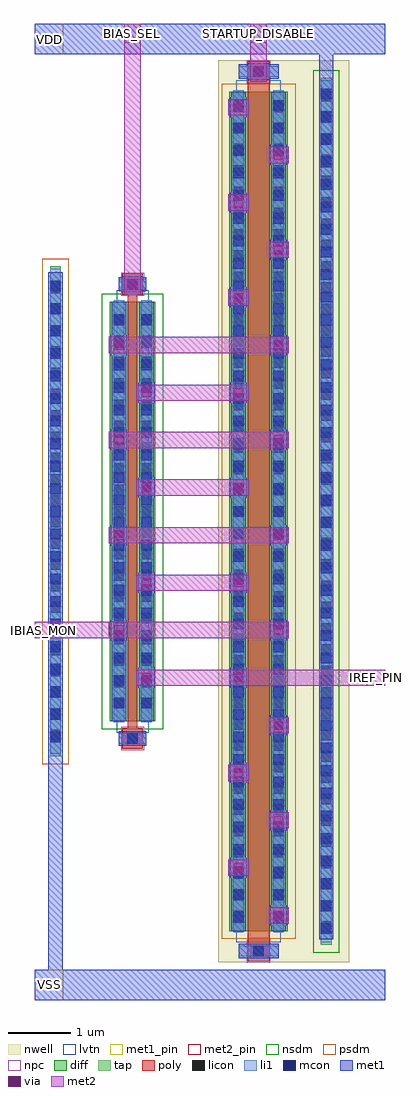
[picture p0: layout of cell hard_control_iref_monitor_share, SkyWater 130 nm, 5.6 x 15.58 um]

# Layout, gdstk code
import gdstk
lib = gdstk.Library(unit=1e-6, precision=1e-09)
def R(c, l, rs):  # rectangles x0, y0, x1, y1
    for r in rs: c.add(gdstk.rectangle(r[:2], r[2:], *l))
def A(c, l, x, y, w, h, nx, ny, dx, dy):  # array of equal rectangles
    R(c, l, [(x+i*dx, y+j*dy, x+i*dx+w, y+j*dy+h) for i in range(nx) for j in range(ny)])
nwell = (64, 20)
diff = (65, 20)
tap = (65, 44)
poly = (66, 20)
licon = (66, 44)
li1 = (67, 20)
mcon = (67, 44)
met1_pin = (68, 16)
met1 = (68, 20)
via = (68, 44)
met2_pin = (69, 16)
met2 = (69, 20)
nsdm = (93, 44)
psdm = (94, 20)
npc = (95, 20)
lvtn = (125, 44)

sky130_fd_pr__pfet_01v8_ = lib.new_cell('sky130_fd_pr__pfet_01v8_lvt_KHQS3C')
R(sky130_fd_pr__pfet_01v8_, nwell, [(-0.645,-7.2,0.645,7.2)])
R(sky130_fd_pr__pfet_01v8_, diff, [(-0.465,-6.7,0.465,6.7)])
R(sky130_fd_pr__pfet_01v8_, poly, [(-0.175,-7.185,0.175,7.185)])
A(sky130_fd_pr__pfet_01v8_, licon, -0.405, -6.545, 0.17, 0.17, 1, 39, 0, 0.34)
A(sky130_fd_pr__pfet_01v8_, licon, 0.235, -6.545, 0.17, 0.17, 1, 39, 0, 0.34)
R(sky130_fd_pr__pfet_01v8_, licon, [(-0.085,-7.105,0.085,-6.935), (-0.085,6.935,0.085,7.105)])
R(sky130_fd_pr__pfet_01v8_, li1, [(-0.32,-7.105,0.32,-6.935), (-0.405,-6.72,-0.235,6.72), (0.235,-6.72,0.405,6.72), (-0.32,6.935,0.32,7.105)])
A(sky130_fd_pr__pfet_01v8_, mcon, -0.405, -6.565, 0.17, 0.17, 1, 37, 0, 0.36)
A(sky130_fd_pr__pfet_01v8_, mcon, 0.235, -6.565, 0.17, 0.17, 1, 37, 0, 0.36)
R(sky130_fd_pr__pfet_01v8_, mcon, [(-0.085,-7.105,0.085,-6.935), (-0.085,6.935,0.085,7.105)])
R(sky130_fd_pr__pfet_01v8_, met1, [(-0.155,-7.135,0.155,-7.105), (-0.32,-7.105,0.32,-6.935), (-0.155,-6.935,0.155,-6.905), (-0.435,-6.7,-0.205,6.7), (0.205,-6.7,0.435,6.7), (-0.155,6.905,0.155,6.935), (-0.32,6.935,0.32,7.105), (-0.155,7.105,0.155,7.135)])
R(sky130_fd_pr__pfet_01v8_, psdm, [(-0.59,-6.825,0.59,6.825)])
R(sky130_fd_pr__pfet_01v8_, npc, [(-0.185,-7.205,0.185,-6.835), (-0.185,6.835,0.185,7.205)])
R(sky130_fd_pr__pfet_01v8_, lvtn, [(-0.355,-6.88,0.355,6.88)])
sky130_fd_pr__pfet_01v8_.add(gdstk.Label('D', (-0.32,0), layer=67, texttype=5))
sky130_fd_pr__pfet_01v8_.add(gdstk.Label('S', (0.32,0), layer=67, texttype=5))
sky130_fd_pr__pfet_01v8_.add(gdstk.Label('G', (0,7.02), layer=67, texttype=5))

sky130_fd_pr__nfet_01v8_ = lib.new_cell('sky130_fd_pr__nfet_01v8_lvt_2VQ9WK')
R(sky130_fd_pr__nfet_01v8_, diff, [(-0.365,-3.35,0.365,3.35)])
R(sky130_fd_pr__nfet_01v8_, poly, [(-0.165,-3.79,0.165,-3.46), (-0.075,-3.46,0.075,3.46), (-0.165,3.46,0.165,3.79)])
A(sky130_fd_pr__nfet_01v8_, licon, -0.305, -3.145, 0.17, 0.17, 1, 19, 0, 0.34)
A(sky130_fd_pr__nfet_01v8_, licon, 0.135, -3.145, 0.17, 0.17, 1, 19, 0, 0.34)
R(sky130_fd_pr__nfet_01v8_, licon, [(-0.085,-3.71,0.085,-3.54), (-0.085,3.54,0.085,3.71)])
R(sky130_fd_pr__nfet_01v8_, li1, [(-0.22,-3.71,0.22,-3.54), (-0.305,-3.37,-0.135,3.37), (0.135,-3.37,0.305,3.37), (-0.22,3.54,0.22,3.71)])
A(sky130_fd_pr__nfet_01v8_, mcon, -0.305, -3.145, 0.17, 0.17, 1, 18, 0, 0.36)
A(sky130_fd_pr__nfet_01v8_, mcon, 0.135, -3.145, 0.17, 0.17, 1, 18, 0, 0.36)
R(sky130_fd_pr__nfet_01v8_, mcon, [(-0.085,-3.71,0.085,-3.54), (-0.085,3.54,0.085,3.71)])
R(sky130_fd_pr__nfet_01v8_, met1, [(-0.145,-3.74,0.145,-3.71), (-0.22,-3.71,0.22,-3.54), (-0.145,-3.54,0.145,-3.51), (-0.335,-3.35,-0.105,3.35), (0.105,-3.35,0.335,3.35), (-0.145,3.51,0.145,3.54), (-0.22,3.54,0.22,3.71), (-0.145,3.71,0.145,3.74)])
R(sky130_fd_pr__nfet_01v8_, nsdm, [(-0.49,-3.475,0.49,3.475)])
R(sky130_fd_pr__nfet_01v8_, npc, [(-0.185,-3.81,0.185,-3.44), (-0.185,3.44,0.185,3.81)])
R(sky130_fd_pr__nfet_01v8_, lvtn, [(-0.255,-3.53,0.255,3.53)])
sky130_fd_pr__nfet_01v8_.add(gdstk.Label('D', (-0.22,0), layer=67, texttype=5))
sky130_fd_pr__nfet_01v8_.add(gdstk.Label('S', (0.22,0), layer=67, texttype=5))
sky130_fd_pr__nfet_01v8_.add(gdstk.Label('G', (0,3.625), layer=67, texttype=5))

switch_tg_analog_nf01 = lib.new_cell('switch_tg_analog_nf01')
R(switch_tg_analog_nf01, nwell, [(2.93,-7.2,5.02,7.2)])
R(switch_tg_analog_nf01, tap, [(4.57,-6.92,4.74,6.92), (0.25,-3.91,0.42,3.91)])
A(switch_tg_analog_nf01, licon, 4.57, -6.715, 0.17, 0.17, 1, 40, 0, 0.34)
A(switch_tg_analog_nf01, licon, 0.25, -3.655, 0.17, 0.17, 1, 22, 0, 0.34)
R(switch_tg_analog_nf01, li1, [(4.57,-6.88,4.74,6.88), (0.25,-3.87,0.42,3.87)])
A(switch_tg_analog_nf01, mcon, 4.57, -6.745, 0.17, 0.17, 1, 38, 0, 0.36)
A(switch_tg_analog_nf01, mcon, 0.25, -3.685, 0.17, 0.17, 1, 21, 0, 0.36)
R(switch_tg_analog_nf01, met1_pin, [(0.22,-0.4,0.45,0.4), (4.54,-0.4,4.77,0.4), (1.345,3.51,1.785,3.74), (3.255,6.905,3.895,7.135)])
R(switch_tg_analog_nf01, met1, [(3.255,-7.135,3.895,-6.905), (4.54,-6.83,4.77,6.83), (3.765,-6.61,4.025,-6.29), (3.125,-5.85,3.385,-5.53), (3.765,-5.09,4.025,-4.77), (3.125,-4.335,3.385,-4.015), (0.22,-3.82,0.45,3.82), (1.345,-3.74,1.785,-3.51), (3.765,-3.575,4.025,-3.255), (1.655,-2.815,1.915,-2.495), (3.125,-2.815,3.385,-2.495), (1.215,-2.055,1.475,-1.735), (3.765,-2.055,4.025,-1.735), (1.655,-1.3,1.915,-0.98), (3.125,-1.3,3.385,-0.98), (1.215,-0.54,1.475,-0.22), (3.765,-0.54,4.025,-0.22), (1.655,0.22,1.915,0.54), (3.125,0.22,3.385,0.54), (1.215,0.98,1.475,1.3), (3.765,0.98,4.025,1.3), (1.655,1.735,1.915,2.055), (3.125,1.735,3.385,2.055), (1.215,2.495,1.475,2.815), (3.765,2.495,4.025,2.815), (3.125,3.255,3.385,3.575), (1.345,3.51,1.785,3.74), (3.765,4.015,4.025,4.335), (3.125,4.77,3.385,5.09), (3.765,5.53,4.025,5.85), (3.125,6.29,3.385,6.61), (3.255,6.905,3.895,7.135)])
R(switch_tg_analog_nf01, via, [(3.82,-6.525,3.97,-6.375), (3.18,-5.765,3.33,-5.615), (3.82,-5.005,3.97,-4.855), (3.18,-4.25,3.33,-4.1), (3.82,-3.49,3.97,-3.34), (1.71,-2.73,1.86,-2.58), (3.18,-2.73,3.33,-2.58), (1.27,-1.97,1.42,-1.82), (3.82,-1.97,3.97,-1.82), (1.71,-1.215,1.86,-1.065), (3.18,-1.215,3.33,-1.065), (1.27,-0.455,1.42,-0.305), (3.82,-0.455,3.97,-0.305), (1.71,0.305,1.86,0.455), (3.18,0.305,3.33,0.455), (1.27,1.065,1.42,1.215), (3.82,1.065,3.97,1.215), (1.71,1.82,1.86,1.97), (3.18,1.82,3.33,1.97), (1.27,2.58,1.42,2.73), (3.82,2.58,3.97,2.73), (3.18,3.34,3.33,3.49), (3.82,4.1,3.97,4.25), (3.18,4.855,3.33,5.005), (3.82,5.615,3.97,5.765), (3.18,6.375,3.33,6.525)])
R(switch_tg_analog_nf01, met2_pin, [(3.115,-2.785,3.415,-2.525), (1.185,-2.025,1.485,-1.765)])
R(switch_tg_analog_nf01, met2, [(3.735,-6.58,4.055,-6.32), (3.095,-5.82,3.415,-5.56), (3.735,-5.06,4.055,-4.8), (3.095,-4.305,3.415,-4.045), (3.735,-3.545,4.055,-3.285), (1.625,-2.785,3.415,-2.525), (1.185,-2.025,4.055,-1.765), (1.625,-1.27,3.415,-1.01), (1.185,-0.51,4.055,-0.25), (1.625,0.25,3.415,0.51), (1.185,1.01,4.055,1.27), (1.625,1.765,3.415,2.025), (1.185,2.525,4.055,2.785), (3.095,3.285,3.415,3.545), (3.735,4.045,4.055,4.305), (3.095,4.8,3.415,5.06), (3.735,5.56,4.055,5.82), (3.095,6.32,3.415,6.58)])
R(switch_tg_analog_nf01, nsdm, [(4.445,-7.045,4.865,7.045)])
R(switch_tg_analog_nf01, psdm, [(0.125,-4.035,0.545,4.035)])
switch_tg_analog_nf01.add(gdstk.Reference(sky130_fd_pr__pfet_01v8_, (3.575,0)))
switch_tg_analog_nf01.add(gdstk.Reference(sky130_fd_pr__nfet_01v8_, (1.565,0)))
switch_tg_analog_nf01.add(gdstk.Label('G', (1.565,3.625), layer=68, texttype=5))
switch_tg_analog_nf01.add(gdstk.Label('GB', (3.575,7.02), layer=68, texttype=5))
switch_tg_analog_nf01.add(gdstk.Label('VSS', (0.335,0), layer=68, texttype=5))
switch_tg_analog_nf01.add(gdstk.Label('VDD', (4.655,0), layer=68, texttype=5))
switch_tg_analog_nf01.add(gdstk.Label('A', (1.335,-1.895), layer=69, texttype=5))
switch_tg_analog_nf01.add(gdstk.Label('B', (3.265,-2.655), layer=69, texttype=5))

hard_control_iref_monito = lib.new_cell('hard_control_iref_monitor_share')
R(hard_control_iref_monito, met1_pin, [(0,-0.24,0.46,0.24), (0,14.86,0.46,15.34)])
R(hard_control_iref_monito, met1, [(0,-0.24,5.6,0.24), (0.22,0.24,0.45,3.96), (1.405,11.055,1.725,11.315), (4.54,14.16,4.77,14.86), (3.415,14.45,3.735,14.71), (0,14.86,5.6,15.34)])
R(hard_control_iref_monito, via, [(1.49,11.11,1.64,11.26), (3.5,14.505,3.65,14.655)])
R(hard_control_iref_monito, met2_pin, [(5.3,4.775,5.6,5.035), (0,5.535,0.3,5.795), (1.435,15.04,1.695,15.34), (3.445,15.04,3.705,15.34)])
R(hard_control_iref_monito, met2, [(3.315,4.775,5.6,5.035), (0,5.535,1.335,5.795), (1.435,11.025,1.695,15.34), (3.445,14.42,3.705,15.34)])
hard_control_iref_monito.add(gdstk.Reference(switch_tg_analog_nf01, (0,7.56)))
hard_control_iref_monito.add(gdstk.Label('VSS', (0.23,0), layer=68, texttype=5))
hard_control_iref_monito.add(gdstk.Label('VDD', (0.23,15.1), layer=68, texttype=5))
hard_control_iref_monito.add(gdstk.Label('BIAS_SEL', (1.565,15.19), layer=69, texttype=5))
hard_control_iref_monito.add(gdstk.Label('STARTUP_DISABLE', (3.575,15.19), layer=69, texttype=5))
hard_control_iref_monito.add(gdstk.Label('IBIAS_MON', (0.15,5.665), layer=69, texttype=5))
hard_control_iref_monito.add(gdstk.Label('IREF_PIN', (5.45,4.905), layer=69, texttype=5))

lib.write_gds('hard_control_iref_monitor_share.gds')
